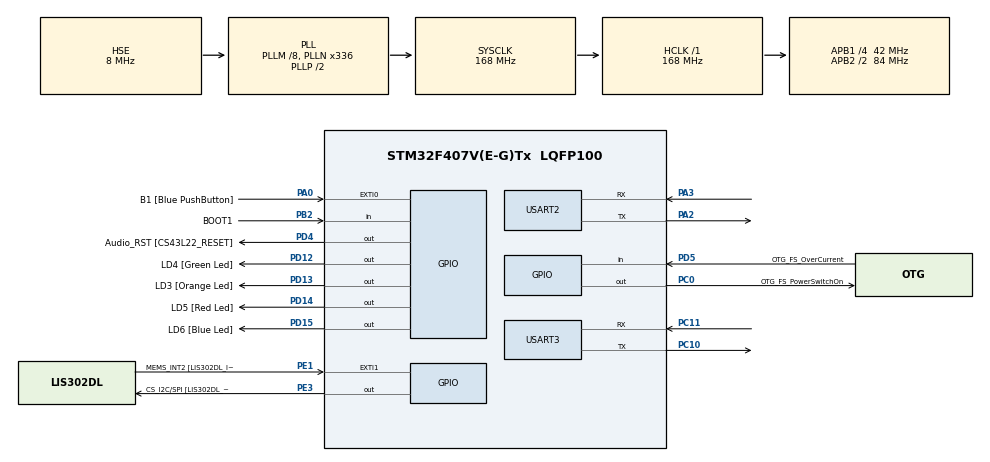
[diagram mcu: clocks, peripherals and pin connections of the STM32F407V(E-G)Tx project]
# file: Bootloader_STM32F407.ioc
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Mcu.Family=STM32F4
Mcu.Name=STM32F407V(E-G)Tx
Mcu.Package=LQFP100
NVIC.PriorityGroup=NVIC_PRIORITYGROUP_0
PA0-WKUP.GPIO_Label=B1 [Blue PushButton]
PA0-WKUP.GPIO_ModeDefaultEXTI=GPIO_MODE_EVT_RISING
PA0-WKUP.GPIO_PuPd=GPIO_NOPULL
PA0-WKUP.Signal=GPXTI0
PA10.GPIO_Label=OTG_FS_ID
PA10.GPIO_Mode=GPIO_MODE_AF_PP
PA10.GPIO_PuPd=GPIO_NOPULL
PA10.GPIO_Speed=GPIO_SPEED_FREQ_LOW
PA10.Signal=USB_OTG_FS_ID
PA11.GPIO_Label=OTG_FS_DM
PA11.GPIO_Mode=GPIO_MODE_AF_PP
PA11.GPIO_PuPd=GPIO_NOPULL
PA11.GPIO_Speed=GPIO_SPEED_FREQ_LOW
PA11.Signal=USB_OTG_FS_DM
PA12.GPIO_Label=OTG_FS_DP
PA12.GPIO_Mode=GPIO_MODE_AF_PP
PA12.GPIO_PuPd=GPIO_NOPULL
PA12.GPIO_Speed=GPIO_SPEED_FREQ_LOW
PA12.Signal=USB_OTG_FS_DP
PA13.GPIO_Label=SWDIO
PA13.Mode=Serial_Wire
PA13.Signal=SYS_JTMS-SWDIO
PA14.GPIO_Label=SWCLK
PA14.Mode=Serial_Wire
PA14.Signal=SYS_JTCK-SWCLK
PA2.Mode=Asynchronous
PA2.Signal=USART2_TX
PA3.Mode=Asynchronous
PA3.Signal=USART2_RX
PA4.GPIO_Label=I2S3_WS [CS43L22_LRCK]
PA4.GPIO_Mode=GPIO_MODE_AF_PP
PA4.GPIO_PuPd=GPIO_NOPULL
PA4.GPIO_Speed=GPIO_SPEED_FREQ_LOW
PA4.Signal=I2S3_WS
PA5.GPIO_Label=SPI1_SCK [LIS302DL_SCL/SPC]
PA5.GPIO_Mode=GPIO_MODE_AF_PP
PA5.GPIO_PuPd=GPIO_NOPULL
PA5.GPIO_Speed=GPIO_SPEED_FREQ_LOW
PA5.Signal=SPI1_SCK
PA6.GPIO_Label=SPI1_MISO [LIS302DL_SDO]
PA6.GPIO_Mode=GPIO_MODE_AF_PP
PA6.GPIO_PuPd=GPIO_NOPULL
PA6.GPIO_Speed=GPIO_SPEED_FREQ_LOW
PA6.Signal=SPI1_MISO
PA7.GPIO_Label=SPI1_MOSI [LIS302DL_SDA/SDI/SDO]
PA7.GPIO_Mode=GPIO_MODE_AF_PP
PA7.GPIO_PuPd=GPIO_NOPULL
PA7.GPIO_Speed=GPIO_SPEED_FREQ_LOW
PA7.Signal=SPI1_MOSI
PA9.GPIO_Label=VBUS_FS
PA9.GPIO_Mode=GPIO_MODE_INPUT
PA9.GPIO_PuPd=GPIO_NOPULL
PA9.Signal=USB_OTG_FS_VBUS
PB10.GPIO_Label=CLK_IN [MP45DT02_CLK]
PB10.GPIO_Mode=GPIO_MODE_AF_PP
PB10.GPIO_PuPd=GPIO_NOPULL
PB10.GPIO_Speed=GPIO_SPEED_FREQ_LOW
PB10.Signal=I2S2_CK
PB2.GPIO_Label=BOOT1
PB2.GPIO_Mode=GPIO_MODE_INPUT
PB2.GPIO_PuPd=GPIO_NOPULL
PB2.Signal=GPIO_Input
PB3.GPIO_Label=SWO
PB3.Signal=SYS_JTDO-SWO
PB6.GPIO_Label=Audio_SCL [CS43L22_SCL]
PB6.GPIO_Mode=GPIO_MODE_AF_OD
PB6.GPIO_Pu=GPIO_PULLUP
PB6.GPIO_PuPd=GPIO_NOPULL
PB6.GPIO_Speed=GPIO_SPEED_FREQ_LOW
PB6.Signal=I2C1_SCL
PB9.GPIO_Label=Audio_SDA [CS43L22_SDA]
PB9.GPIO_Mode=GPIO_MODE_AF_OD
PB9.GPIO_Pu=GPIO_PULLUP
PB9.GPIO_PuPd=GPIO_NOPULL
PB9.GPIO_Speed=GPIO_SPEED_FREQ_LOW
PB9.Signal=I2C1_SDA
PC0.GPIO_Label=OTG_FS_PowerSwitchOn
PC0.GPIO_PuPd=GPIO_NOPULL
PC0.GPIO_Speed=GPIO_SPEED_FREQ_LOW
PC0.PinState=GPIO_PIN_SET
PC0.Signal=GPIO_Output
PC10.Mode=Asynchronous
PC10.Signal=USART3_TX
PC11.Mode=Asynchronous
PC11.Signal=USART3_RX
PC12.GPIO_Label=I2S3_SD [CS43L22_SDIN]
PC12.GPIO_Mode=GPIO_MODE_AF_PP
PC12.GPIO_PuPd=GPIO_NOPULL
PC12.GPIO_Speed=GPIO_SPEED_FREQ_LOW
PC12.Signal=I2S3_SD
PC14-OSC32_IN.GPIO_Label=PC14-OSC32_IN
PC14-OSC32_IN.Mode=LSE-External-Oscillator
PC14-OSC32_IN.Signal=RCC_OSC32_IN
PC15-OSC32_OUT.GPIO_Label=PC15-OSC32_OUT
PC15-OSC32_OUT.Mode=LSE-External-Oscillator
PC15-OSC32_OUT.Signal=RCC_OSC32_OUT
PC3.GPIO_Label=PDM_OUT [MP45DT02_DOUT]
PC3.GPIO_Mode=GPIO_MODE_AF_PP
PC3.GPIO_PuPd=GPIO_NOPULL
PC3.GPIO_Speed=GPIO_SPEED_FREQ_LOW
PC3.Signal=I2S2_SD
PC7.GPIO_Label=I2S3_MCK [CS43L22_MCLK]
PC7.GPIO_Mode=GPIO_MODE_AF_PP
PC7.GPIO_PuPd=GPIO_NOPULL
PC7.GPIO_Speed=GPIO_SPEED_FREQ_LOW
PC7.Signal=I2S3_MCK
PD12.GPIO_Label=LD4 [Green Led]
PD12.GPIO_PuPd=GPIO_NOPULL
PD12.GPIO_Speed=GPIO_SPEED_FREQ_LOW
PD12.Signal=GPIO_Output
PD13.GPIO_Label=LD3 [Orange Led]
PD13.GPIO_PuPd=GPIO_NOPULL
PD13.GPIO_Speed=GPIO_SPEED_FREQ_LOW
PD13.Signal=GPIO_Output
PD14.GPIO_Label=LD5 [Red Led]
PD14.GPIO_PuPd=GPIO_NOPULL
PD14.GPIO_Speed=GPIO_SPEED_FREQ_LOW
PD14.Signal=GPIO_Output
PD15.GPIO_Label=LD6 [Blue Led]
PD15.GPIO_PuPd=GPIO_NOPULL
PD15.GPIO_Speed=GPIO_SPEED_FREQ_LOW
PD15.Signal=GPIO_Output
PD4.GPIO_Label=Audio_RST [CS43L22_RESET]
PD4.GPIO_PuPd=GPIO_NOPULL
PD4.GPIO_Speed=GPIO_SPEED_FREQ_LOW
PD4.Signal=GPIO_Output
PD5.GPIO_Label=OTG_FS_OverCurrent
PD5.GPIO_Mode=GPIO_MODE_INPUT
PD5.GPIO_PuPd=GPIO_NOPULL
PD5.Signal=GPIO_Input
PE1.GPIO_Label=MEMS_INT2 [LIS302DL_INT2]
PE1.GPIO_ModeDefaultEXTI=GPIO_MODE_EVT_RISING
PE1.GPIO_PuPd=GPIO_NOPULL
PE1.Signal=GPXTI1
PE3.GPIO_Label=CS_I2C/SPI [LIS302DL_CS_I2C/SPI]
PE3.GPIO_PuPd=GPIO_NOPULL
PE3.GPIO_Speed=GPIO_SPEED_FREQ_LOW
PE3.Signal=GPIO_Output
PH0-OSC_IN.GPIO_Label=PH0-OSC_IN
PH0-OSC_IN.Mode=HSE-External-Oscillator
PH0-OSC_IN.Signal=RCC_OSC_IN
PH1-OSC_OUT.GPIO_Label=PH1-OSC_OUT
PH1-OSC_OUT.Mode=HSE-External-Oscillator
PH1-OSC_OUT.Signal=RCC_OSC_OUT
ProjectManager.HeapSize=0x200
ProjectManager.StackSize=0x400
ProjectManager.TargetToolchain=STM32CubeIDE
RCC.48MHZClocksFreq_Value=48000000
RCC.AHBFreq_Value=168000000
RCC.APB1CLKDivider=RCC_HCLK_DIV4
RCC.APB1Freq_Value=42000000
RCC.APB1TimFreq_Value=84000000
RCC.APB2CLKDivider=RCC_HCLK_DIV2
RCC.APB2Freq_Value=84000000
RCC.APB2TimFreq_Value=168000000
RCC.CortexFreq_Value=168000000
RCC.HCLKFreq_Value=168000000
RCC.HSE_VALUE=8000000
RCC.HSI_VALUE=16000000
RCC.PLLM=8
RCC.PLLN=336
RCC.PLLQ=7
RCC.PLLSourceVirtual=RCC_PLLSOURCE_HSE
RCC.SYSCLKFreq_VALUE=168000000
RCC.SYSCLKSource=RCC_SYSCLKSOURCE_PLLCLK
RCC.VCOOutputFreq_Value=336000000
USART2.VirtualMode=VM_ASYNC
USART3.VirtualMode=VM_ASYNC
VP_CRC_VS_CRC.Mode=CRC_Activate
board=STM32F407G-DISC1

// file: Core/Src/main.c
/* USER CODE BEGIN Header */
/**
  ******************************************************************************
  * @file           : main.c
  * @brief          : Main program body
  ******************************************************************************
  * @attention
  *
  * Copyright (c) 2025 STMicroelectronics.
  * All rights reserved.
  *
  * This software is licensed under terms that can be found in the LICENSE file
  * in the root directory of this software component.
  * If no LICENSE file comes with this software, it is provided AS-IS.
  *
  ******************************************************************************
  */
/* USER CODE END Header */
#include "main.h"

/* USER CODE BEGIN PTD */
typedef enum
{
	UserCommand_Length,
	UserCommand_Cmd,
	UserCommand_TotalFields
}UserCommandFields_t;

typedef enum
{
    BL_GET_VER_CMD,
	UserCommand_ToTal
}UserCommand_t;

typedef enum
{
	Crc_Success,
	Crc_Failure
}CrcResult_t;
/* USER CODE END PTD */

/* USER CODE BEGIN PM */
#define USER_APP_BASE_ADDRESS (0x08008000U)
#define USER_APP_RESET_HANDLER (USER_APP_BASE_ADDRESS + 4U)
/* USER CODE END PM */

CRC_HandleTypeDef hcrc;

UART_HandleTypeDef huart2;
UART_HandleTypeDef huart3;

/* USER CODE BEGIN PV */
void (*UserAppResetHandler)(void);
uint8_t usrcmd_length;
uint8_t usrcmd[100];
/* USER CODE END PV */

void SystemClock_Config(void);
static void MX_GPIO_Init(void);
static void MX_CRC_Init(void);
static void MX_USART2_UART_Init(void);
static void MX_USART3_UART_Init(void);
/* USER CODE BEGIN PFP */
static CrcResult_t verify_crc(uint8_t* data, uint8_t len, uint32_t crc_val);
static void ProcessUserCommands(void);
static void Bootloader_SendAck(uint8_t follow_len);
static void Bootloader_SendNack(void);
static void Bootloader_SendResponse(uint8_t* data, uint8_t len);
static uint8_t Get_BL_Version(void);
/* USER CODE END PFP */

/* USER CODE BEGIN 0 */
char data[] = "Hello from Bootloader\r\n";
/* USER CODE END 0 */

int main(void)
{

  /* MCU Configuration--------------------------------------------------------*/

  /* Reset of all peripherals, Initializes the Flash interface and the Systick. */
  HAL_Init();

  /* Configure the system clock */
  SystemClock_Config();

  /* Initialize all configured peripherals */
  MX_GPIO_Init();
  MX_CRC_Init();
  MX_USART2_UART_Init();
  MX_USART3_UART_Init();

  /* Infinite loop */
  /* USER CODE BEGIN WHILE */
  if(HAL_GPIO_ReadPin(B1_GPIO_Port, B1_Pin) == GPIO_PIN_SET)
  {
	  bootloader_RunUserCommands();
  }
  else
  {
    bootloader_JumpToApp();
  }
  /* USER CODE END 3 */
}

void SystemClock_Config(void)
{
  RCC_OscInitTypeDef RCC_OscInitStruct = {0};
  RCC_ClkInitTypeDef RCC_ClkInitStruct = {0};

  /** Configure the main internal regulator output voltage
  */
  __HAL_RCC_PWR_CLK_ENABLE();
  __HAL_PWR_VOLTAGESCALING_CONFIG(PWR_REGULATOR_VOLTAGE_SCALE1);

  /** Initializes the RCC Oscillators according to the specified parameters
  * in the RCC_OscInitTypeDef structure.
  */
  RCC_OscInitStruct.OscillatorType = RCC_OSCILLATORTYPE_HSE;
  RCC_OscInitStruct.HSEState = RCC_HSE_ON;
  RCC_OscInitStruct.PLL.PLLState = RCC_PLL_ON;
  RCC_OscInitStruct.PLL.PLLSource = RCC_PLLSOURCE_HSE;
  RCC_OscInitStruct.PLL.PLLM = 8;
  RCC_OscInitStruct.PLL.PLLN = 336;
  RCC_OscInitStruct.PLL.PLLP = RCC_PLLP_DIV2;
  RCC_OscInitStruct.PLL.PLLQ = 7;
  if (HAL_RCC_OscConfig(&RCC_OscInitStruct) != HAL_OK)
  {
    Error_Handler();
  }

  /** Initializes the CPU, AHB and APB buses clocks
  */
  RCC_ClkInitStruct.ClockType = RCC_CLOCKTYPE_HCLK|RCC_CLOCKTYPE_SYSCLK
                              |RCC_CLOCKTYPE_PCLK1|RCC_CLOCKTYPE_PCLK2;
  RCC_ClkInitStruct.SYSCLKSource = RCC_SYSCLKSOURCE_PLLCLK;
  RCC_ClkInitStruct.AHBCLKDivider = RCC_SYSCLK_DIV1;
  RCC_ClkInitStruct.APB1CLKDivider = RCC_HCLK_DIV4;
  RCC_ClkInitStruct.APB2CLKDivider = RCC_HCLK_DIV2;

  if (HAL_RCC_ClockConfig(&RCC_ClkInitStruct, FLASH_LATENCY_5) != HAL_OK)
  {
    Error_Handler();
  }
}

static void MX_CRC_Init(void)
{

  hcrc.Instance = CRC;
  if (HAL_CRC_Init(&hcrc) != HAL_OK)
  {
    Error_Handler();
  }

}

static void MX_USART2_UART_Init(void)
{

  huart2.Instance = USART2;
  huart2.Init.BaudRate = 115200;
  huart2.Init.WordLength = UART_WORDLENGTH_8B;
  huart2.Init.StopBits = UART_STOPBITS_1;
  huart2.Init.Parity = UART_PARITY_NONE;
  huart2.Init.Mode = UART_MODE_TX_RX;
  huart2.Init.HwFlowCtl = UART_HWCONTROL_NONE;
//  huart2.Init.OverSampling = UART_OVERSAMPLING_16;
  if (HAL_UART_Init(&huart2) != HAL_OK)
  {
    Error_Handler();
  }

}

static void MX_USART3_UART_Init(void)
{

  huart3.Instance = USART3;
  huart3.Init.BaudRate = 115200;
  huart3.Init.WordLength = UART_WORDLENGTH_8B;
  huart3.Init.StopBits = UART_STOPBITS_1;
  huart3.Init.Parity = UART_PARITY_NONE;
  huart3.Init.Mode = UART_MODE_TX_RX;
  huart3.Init.HwFlowCtl = UART_HWCONTROL_NONE;
  huart3.Init.OverSampling = UART_OVERSAMPLING_16;
  if (HAL_UART_Init(&huart3) != HAL_OK)
  {
    Error_Handler();
  }

}

static void MX_GPIO_Init(void)
{
  GPIO_InitTypeDef GPIO_InitStruct = {0};

  /* GPIO Ports Clock Enable */
  __HAL_RCC_GPIOE_CLK_ENABLE();
  __HAL_RCC_GPIOC_CLK_ENABLE();
  __HAL_RCC_GPIOH_CLK_ENABLE();
  __HAL_RCC_GPIOA_CLK_ENABLE();
  __HAL_RCC_GPIOB_CLK_ENABLE();
  __HAL_RCC_GPIOD_CLK_ENABLE();

  /*Configure GPIO pin Output Level */
  HAL_GPIO_WritePin(CS_I2C_SPI_GPIO_Port, CS_I2C_SPI_Pin, GPIO_PIN_RESET);

  /*Configure GPIO pin Output Level */
  HAL_GPIO_WritePin(OTG_FS_PowerSwitchOn_GPIO_Port, OTG_FS_PowerSwitchOn_Pin, GPIO_PIN_SET);

  /*Configure GPIO pin Output Level */
  HAL_GPIO_WritePin(GPIOD, LD4_Pin|LD3_Pin|LD5_Pin|LD6_Pin
                          |Audio_RST_Pin, GPIO_PIN_RESET);

  /*Configure GPIO pin : CS_I2C_SPI_Pin */
  GPIO_InitStruct.Pin = CS_I2C_SPI_Pin;
  GPIO_InitStruct.Mode = GPIO_MODE_OUTPUT_PP;
  GPIO_InitStruct.Pull = GPIO_NOPULL;
  GPIO_InitStruct.Speed = GPIO_SPEED_FREQ_LOW;
  HAL_GPIO_Init(CS_I2C_SPI_GPIO_Port, &GPIO_InitStruct);

  /*Configure GPIO pin : OTG_FS_PowerSwitchOn_Pin */
  GPIO_InitStruct.Pin = OTG_FS_PowerSwitchOn_Pin;
  GPIO_InitStruct.Mode = GPIO_MODE_OUTPUT_PP;
  GPIO_InitStruct.Pull = GPIO_NOPULL;
  GPIO_InitStruct.Speed = GPIO_SPEED_FREQ_LOW;
  HAL_GPIO_Init(OTG_FS_PowerSwitchOn_GPIO_Port, &GPIO_InitStruct);

  /*Configure GPIO pin : PDM_OUT_Pin */
  GPIO_InitStruct.Pin = PDM_OUT_Pin;
  GPIO_InitStruct.Mode = GPIO_MODE_AF_PP;
  GPIO_InitStruct.Pull = GPIO_NOPULL;
  GPIO_InitStruct.Speed = GPIO_SPEED_FREQ_LOW;
  GPIO_InitStruct.Alternate = GPIO_AF5_SPI2;
  HAL_GPIO_Init(PDM_OUT_GPIO_Port, &GPIO_InitStruct);

  /*Configure GPIO pin : B1_Pin */
  GPIO_InitStruct.Pin = B1_Pin;
  GPIO_InitStruct.Mode = GPIO_MODE_EVT_RISING;
  GPIO_InitStruct.Pull = GPIO_NOPULL;
  HAL_GPIO_Init(B1_GPIO_Port, &GPIO_InitStruct);

  /*Configure GPIO pin : I2S3_WS_Pin */
  GPIO_InitStruct.Pin = I2S3_WS_Pin;
  GPIO_InitStruct.Mode = GPIO_MODE_AF_PP;
  GPIO_InitStruct.Pull = GPIO_NOPULL;
  GPIO_InitStruct.Speed = GPIO_SPEED_FREQ_LOW;
  GPIO_InitStruct.Alternate = GPIO_AF6_SPI3;
  HAL_GPIO_Init(I2S3_WS_GPIO_Port, &GPIO_InitStruct);

  /*Configure GPIO pins : SPI1_SCK_Pin SPI1_MISO_Pin SPI1_MOSI_Pin */
  GPIO_InitStruct.Pin = SPI1_SCK_Pin|SPI1_MISO_Pin|SPI1_MOSI_Pin;
  GPIO_InitStruct.Mode = GPIO_MODE_AF_PP;
  GPIO_InitStruct.Pull = GPIO_NOPULL;
  GPIO_InitStruct.Speed = GPIO_SPEED_FREQ_LOW;
  GPIO_InitStruct.Alternate = GPIO_AF5_SPI1;
  HAL_GPIO_Init(GPIOA, &GPIO_InitStruct);

  /*Configure GPIO pin : BOOT1_Pin */
  GPIO_InitStruct.Pin = BOOT1_Pin;
  GPIO_InitStruct.Mode = GPIO_MODE_INPUT;
  GPIO_InitStruct.Pull = GPIO_NOPULL;
  HAL_GPIO_Init(BOOT1_GPIO_Port, &GPIO_InitStruct);

  /*Configure GPIO pin : CLK_IN_Pin */
  GPIO_InitStruct.Pin = CLK_IN_Pin;
  GPIO_InitStruct.Mode = GPIO_MODE_AF_PP;
  GPIO_InitStruct.Pull = GPIO_NOPULL;
  GPIO_InitStruct.Speed = GPIO_SPEED_FREQ_LOW;
  GPIO_InitStruct.Alternate = GPIO_AF5_SPI2;
  HAL_GPIO_Init(CLK_IN_GPIO_Port, &GPIO_InitStruct);

  /*Configure GPIO pins : LD4_Pin LD3_Pin LD5_Pin LD6_Pin
                           Audio_RST_Pin */
  GPIO_InitStruct.Pin = LD4_Pin|LD3_Pin|LD5_Pin|LD6_Pin
                          |Audio_RST_Pin;
  GPIO_InitStruct.Mode = GPIO_MODE_OUTPUT_PP;
  GPIO_InitStruct.Pull = GPIO_NOPULL;
  GPIO_InitStruct.Speed = GPIO_SPEED_FREQ_LOW;
  HAL_GPIO_Init(GPIOD, &GPIO_InitStruct);

  /*Configure GPIO pins : I2S3_MCK_Pin I2S3_SD_Pin */
  GPIO_InitStruct.Pin = I2S3_MCK_Pin|I2S3_SD_Pin;
  GPIO_InitStruct.Mode = GPIO_MODE_AF_PP;
  GPIO_InitStruct.Pull = GPIO_NOPULL;
  GPIO_InitStruct.Speed = GPIO_SPEED_FREQ_LOW;
  GPIO_InitStruct.Alternate = GPIO_AF6_SPI3;
  HAL_GPIO_Init(GPIOC, &GPIO_InitStruct);

  /*Configure GPIO pin : VBUS_FS_Pin */
  GPIO_InitStruct.Pin = VBUS_FS_Pin;
  GPIO_InitStruct.Mode = GPIO_MODE_INPUT;
  GPIO_InitStruct.Pull = GPIO_NOPULL;
  HAL_GPIO_Init(VBUS_FS_GPIO_Port, &GPIO_InitStruct);

  /*Configure GPIO pins : OTG_FS_ID_Pin OTG_FS_DM_Pin OTG_FS_DP_Pin */
  GPIO_InitStruct.Pin = OTG_FS_ID_Pin|OTG_FS_DM_Pin|OTG_FS_DP_Pin;
  GPIO_InitStruct.Mode = GPIO_MODE_AF_PP;
  GPIO_InitStruct.Pull = GPIO_NOPULL;
  GPIO_InitStruct.Speed = GPIO_SPEED_FREQ_LOW;
  GPIO_InitStruct.Alternate = GPIO_AF10_OTG_FS;
  HAL_GPIO_Init(GPIOA, &GPIO_InitStruct);

  /*Configure GPIO pin : OTG_FS_OverCurrent_Pin */
  GPIO_InitStruct.Pin = OTG_FS_OverCurrent_Pin;
  GPIO_InitStruct.Mode = GPIO_MODE_INPUT;
  GPIO_InitStruct.Pull = GPIO_NOPULL;
  HAL_GPIO_Init(OTG_FS_OverCurrent_GPIO_Port, &GPIO_InitStruct);

  /*Configure GPIO pins : Audio_SCL_Pin Audio_SDA_Pin */
  GPIO_InitStruct.Pin = Audio_SCL_Pin|Audio_SDA_Pin;
  GPIO_InitStruct.Mode = GPIO_MODE_AF_OD;
  GPIO_InitStruct.Pull = GPIO_PULLUP;
  GPIO_InitStruct.Speed = GPIO_SPEED_FREQ_LOW;
  GPIO_InitStruct.Alternate = GPIO_AF4_I2C1;
  HAL_GPIO_Init(GPIOB, &GPIO_InitStruct);

  /*Configure GPIO pin : MEMS_INT2_Pin */
  GPIO_InitStruct.Pin = MEMS_INT2_Pin;
  GPIO_InitStruct.Mode = GPIO_MODE_EVT_RISING;
  GPIO_InitStruct.Pull = GPIO_NOPULL;
  HAL_GPIO_Init(MEMS_INT2_GPIO_Port, &GPIO_InitStruct);

}

/* USER CODE BEGIN 4 */
void bootloader_RunUserCommands(void)
{
	uint8_t rcvd_len = 0;
	uint8_t crc_verify_len = 0;
	uint32_t crc_received;
	while(1)
	{
		// Obtain length of user command
		HAL_UART_Receive(&huart2, &usrcmd[0], 1, HAL_MAX_DELAY);
		rcvd_len = usrcmd[0];

		// Obtain payload of user command
		HAL_UART_Receive(&huart2, &usrcmd[1], rcvd_len, HAL_MAX_DELAY);

		// Verify the CRC
		crc_verify_len = rcvd_len + 1 - 4;
		crc_received = *((uint32_t*)(&usrcmd[crc_verify_len]));
		if(Crc_Success == verify_crc(&usrcmd[0], crc_verify_len, crc_received))
		{
			ProcessUserCommands();
		}
	}

}

void bootloader_JumpToApp(void)
{
	// Obtain MSP from Application base address
	uint32_t app_msp = *((volatile uint32_t*) USER_APP_BASE_ADDRESS);
	__set_MSP(app_msp);

	// Obtain address of user app reset handler
	UserAppResetHandler = (void (*)(void))(*(volatile uint32_t*)USER_APP_RESET_HANDLER);

	// Jump to user application
	UserAppResetHandler();

}

static CrcResult_t verify_crc(uint8_t* data, uint8_t len, uint32_t crc_val)
{
	uint32_t crc_cal = 0xFF;
	CrcResult_t crc_result = Crc_Failure;

	for(int i = 0; i < len; i++)
	{
		uint32_t val = data[i];
		crc_cal = HAL_CRC_Accumulate(&hcrc, &val, 1);
	}

	  /* Reset CRC Calculation Unit */
	  __HAL_CRC_DR_RESET(&hcrc);

	if(crc_cal == crc_val)
	{
		crc_result = Crc_Success;
	}

	return crc_result;
}

static void ProcessUserCommands(void)
{
	switch(usrcmd[1])
	{
	case 0x51:
		// Valid command
		Bootloader_SendAck(1);

		// Get Bootloader version
		uint8_t bl_version = Get_BL_Version();

		Bootloader_SendResponse(&bl_version, 1);
		break;

	default:
		break;
	}

}

static void Bootloader_SendAck(uint8_t follow_len)
{
	uint8_t ack[2];
	ack[2] = 0xA5;
	ack[1] = follow_len;
	HAL_UART_Transmit(&huart2, ack, 2, HAL_MAX_DELAY);
}

static void Bootloader_SendResponse(uint8_t* data, uint8_t len)
{
	HAL_UART_Transmit(&huart2, data, len, HAL_MAX_DELAY);
}

static void Bootloader_SendNack(void)
{
	uint8_t nack = 0x5A;
	HAL_UART_Transmit(&huart2, &nack, 1, HAL_MAX_DELAY);
}

static uint8_t Get_BL_Version(void)
{
	return 0x10;
}
/* USER CODE END 4 */

void Error_Handler(void)
{
  __disable_irq();
  while (1)
  {
  }
}
